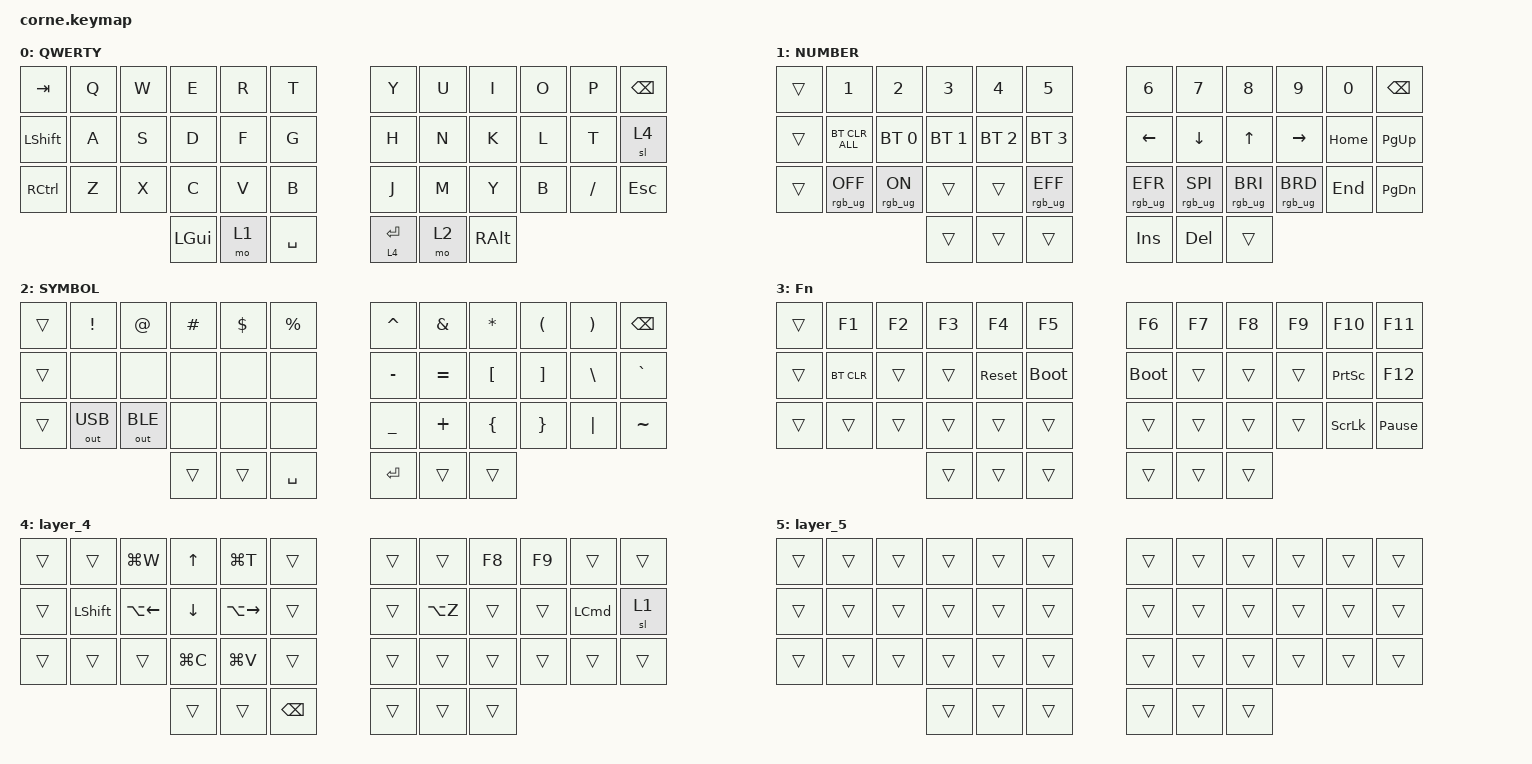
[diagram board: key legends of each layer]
/*
 * Copyright (c) 2020 The ZMK Contributors
 *
 * SPDX-License-Identifier: MIT
 */

#include <behaviors.dtsi>
#include <dt-bindings/zmk/bt.h>
#include <dt-bindings/zmk/keys.h>
#include <dt-bindings/zmk/outputs.h>
#include <dt-bindings/zmk/rgb.h>

/ {
    chosen {
        zmk,matrix_transform = &default_transform;

        // zmk,matrix_transform = &five_column_transform;
    };
};

/ {
    behaviors {
        td0: td0 {
            compatible = "zmk,behavior-tap-dance";
            label = "TD0";
            #binding-cells = <0>;
            bindings = <&kp LEFT_SHIFT>, <&kp CAPS>;
        };
    };

    keymap {
        compatible = "zmk,keymap";

        default_layer {
            display-name = "QWERTY";

            // --------------------------------------------------------------------------------
            // |  TAB |  Q  |  W  |  E  |  R  |  T  |   |  Y  |  U   |  I  |  O  |  P  | BKSP |
            // | CTRL |  A  |  S  |  D  |  F  |  G  |   |  H  |  J   |  K  |  L  |  ;  |  '   | 
            // | SHFT |  Z  |  X  |  C  |  V  |  B  |   |  N  |  M   |  ,  |  .  |  /  | ESC  |
            //                    | GUI | LWR | SPC |   | ENT | RSE  | ALT |

            bindings = <
&kp TAB         &kp Q  &kp W  &kp E     &kp R  &kp T        &kp Y        &kp U  &kp I     &kp O  &kp P     &kp BSPC
&kp LEFT_SHIFT  &kp A  &kp S  &kp D     &kp F  &kp G        &kp H        &kp N  &kp K     &kp L  &kp T     &sl 4
&kp RCTRL       &kp Z  &kp X  &kp C     &kp V  &kp B        &kp J        &kp M  &kp Y     &kp B  &kp FSLH  &kp ESC
                              &kp LGUI  &mo 1  &kp SPACE    &lt 4 ENTER  &mo 2  &kp RALT
            >;
        };

        lower_layer {
            display-name = "NUMBER";

            // -----------------------------------------------------------------------------------------
            // |  TAB |  1  |  2  |  3  |  4  |  5  |   |  6  |  7  |  8  |  9  |  0  | BKSP |
            // | BTCLR| BT1 | BT2 | BT3 | BT4 | BT5 |   | LFT | DWN |  UP | RGT |     |      |
            // | SHFT |     |     |     |     |     |   |     |     |     |     |     |      |
            //                    | GUI |     | SPC |   | ENT |     | ALT |

            bindings = <
&trans  &kp N1           &kp N2          &kp N3        &kp N4        &kp N5             &kp N6           &kp N7           &kp N8           &kp N9           &kp N0    &kp BSPC
&trans  &bt BT_CLR_ALL   &bt BT_SEL 0    &bt BT_SEL 1  &bt BT_SEL 2  &bt BT_SEL 3       &kp LEFT         &kp DOWN         &kp UP           &kp RIGHT        &kp HOME  &kp PG_UP
&trans  &rgb_ug RGB_OFF  &rgb_ug RGB_ON  &trans        &trans        &rgb_ug RGB_EFF    &rgb_ug RGB_EFR  &rgb_ug RGB_SPI  &rgb_ug RGB_BRI  &rgb_ug RGB_BRD  &kp END   &kp PG_DN
                                         &trans        &trans        &trans             &kp INS          &kp DEL          &trans
            >;
        };

        raise_layer {
            display-name = "SYMBOL";

            // -----------------------------------------------------------------------------------------
            // |  TAB |  !  |  @  |  #  |  $  |  %  |   |  ^  |  &  |  *  |  (  |  )  | BKSP |
            // | CTRL |     |     |     |     |     |   |  -  |  =  |  [  |  ]  |  \  |  `   |
            // | SHFT |     |     |     |     |     |   |  _  |  +  |  {  |  }  | "|" |  ~   |
            //                    | GUI |     | SPC |   | ENT |     | ALT |

            bindings = <
&trans  &kp EXCL      &kp AT        &kp HASH  &kp DLLR  &kp PRCNT    &kp CARET  &kp AMPS   &kp ASTRK  &kp LPAR  &kp RPAR  &kp BSPC
&trans  &none         &none         &none     &none     &none        &kp MINUS  &kp EQUAL  &kp LBKT   &kp RBKT  &kp BSLH  &kp GRAVE
&trans  &out OUT_USB  &out OUT_BLE  &none     &none     &none        &kp UNDER  &kp PLUS   &kp LBRC   &kp RBRC  &kp PIPE  &kp TILDE
                                    &trans    &trans    &kp SPACE    &kp RET    &trans     &trans
            >;
        };

        layer_3 {
            display-name = "Fn";
            bindings = <
&trans  &kp F1      &kp F2  &kp F3  &kp F4      &kp F5         &kp F6       &kp F7  &kp F8  &kp F9  &kp F10          &kp F11
&trans  &bt BT_CLR  &trans  &trans  &sys_reset  &bootloader    &bootloader  &trans  &trans  &trans  &kp PRINTSCREEN  &kp F12
&trans  &trans      &trans  &trans  &trans      &trans         &trans       &trans  &trans  &trans  &kp SCROLLLOCK   &kp PAUSE_BREAK
                            &trans  &trans      &trans         &trans       &trans  &trans
            >;
        };

        layer_4 {
            bindings = <
&trans  &trans          &kp LG(W)     &kp UP     &kp LG(T)            &trans           &trans  &trans     &kp F8  &kp F9  &trans    &trans
&trans  &kp LEFT_SHIFT  &kp LA(LEFT)  &kp DOWN   &kp LA(RIGHT_ARROW)  &trans           &trans  &kp LA(Z)  &trans  &trans  &kp LCMD  &sl 1
&trans  &trans          &trans        &kp LG(C)  &kp LG(V)            &trans           &trans  &trans     &trans  &trans  &trans    &trans
                                      &trans     &trans               &kp BACKSPACE    &trans  &trans     &trans
            >;
        };

        layer_5 {
            bindings = <
&trans  &trans  &trans  &trans  &trans  &trans    &trans  &trans  &trans  &trans  &trans  &trans
&trans  &trans  &trans  &trans  &trans  &trans    &trans  &trans  &trans  &trans  &trans  &trans
&trans  &trans  &trans  &trans  &trans  &trans    &trans  &trans  &trans  &trans  &trans  &trans
                        &trans  &trans  &trans    &trans  &trans  &trans
            >;
        };
    };
};
